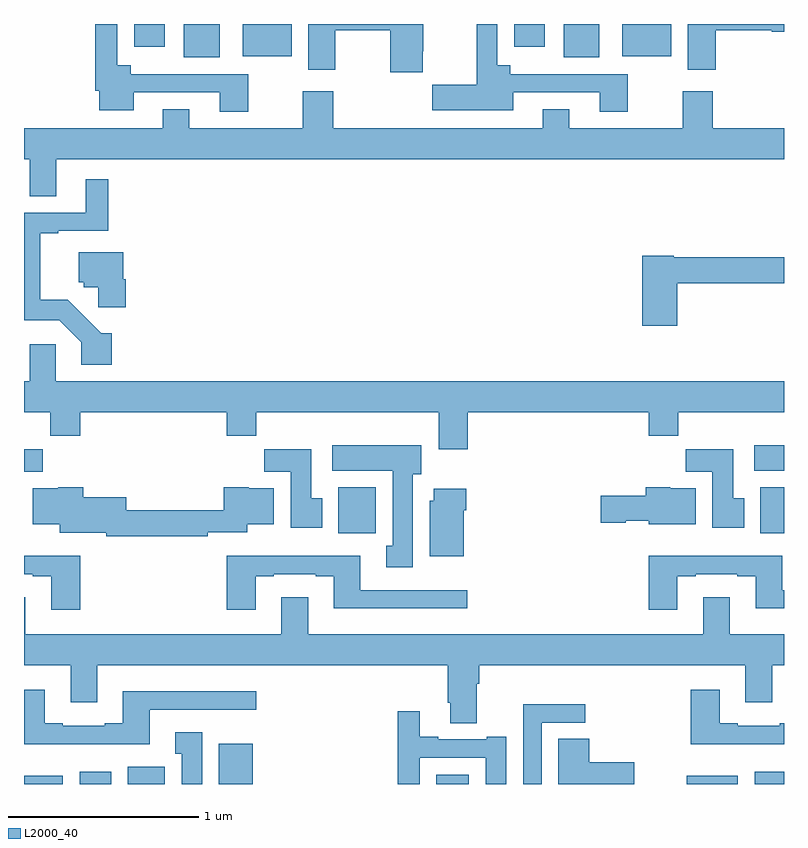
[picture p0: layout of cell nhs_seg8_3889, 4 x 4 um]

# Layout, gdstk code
import gdstk
lib = gdstk.Library(unit=1e-6, precision=1e-09)
def R(c, l, rs):  # rectangles x0, y0, x1, y1
    for r in rs: c.add(gdstk.rectangle(r[:2], r[2:], *l))
def P(c, l, *ps):  # polygons
    for p in ps: c.add(gdstk.Polygon(p, *l))
L2000_40 = (2000, 40)

nhs_seg8_3889 = lib.new_cell('nhs_seg8_3889')
R(nhs_seg8_3889, L2000_40, [(351,1091.9,351.205,1091.944), (351.293,1091.9,351.46,1091.965), (351.545,1091.9,351.742,1091.992), (352.025,1091.9,352.204,1092.112), (353.171,1091.9,353.341,1091.95), (354.488,1091.9,354.757,1091.944), (354.845,1091.9,355,1091.965), (352.655,1093.22,352.852,1093.462), (354.875,1093.22,355,1093.462), (351,1093.544,351.098,1093.663), (354.843,1093.55,355,1093.684), (351.842,1095.725,352.03,1095.9), (353.84,1095.725,354.028,1095.9), (352.151,1095.731,352.408,1095.9), (354.149,1095.731,354.406,1095.9), (351.581,1095.78,351.742,1095.9), (353.579,1095.78,353.74,1095.9)])
P(nhs_seg8_3889, L2000_40, [(352.179,1095.636),(351.562,1095.636),(351.562,1095.682),(351.492,1095.682),(351.492,1095.9),(351.376,1095.9),(351.376,1095.55),(351.395,1095.55),(351.395,1095.446),(351.577,1095.446),(351.577,1095.54),(352.031,1095.54),(352.031,1095.438),(352.179,1095.438)],
  [(353.099,1095.757),(353.1,1095.757),(353.1,1095.9),(352.496,1095.9),(352.496,1095.66),(352.638,1095.66),(352.638,1095.868),(352.927,1095.868),(352.927,1095.645),(353.099,1095.645)],
  [(354.177,1095.636),(353.56,1095.636),(353.56,1095.682),(353.49,1095.682),(353.49,1095.9),(353.382,1095.9),(353.382,1095.58),(353.148,1095.58),(353.148,1095.446),(353.575,1095.446),(353.575,1095.54),(354.029,1095.54),(354.029,1095.438),(354.177,1095.438)],
  [(354.641,1095.868),(354.936,1095.868),(354.936,1095.86),(355,1095.86),(355,1095.9),(354.494,1095.9),(354.494,1095.66),(354.641,1095.66)],
  [(351.169,1095.188),(355,1095.188),(355,1095.352),(354.626,1095.352),(354.626,1095.547),(354.466,1095.547),(354.466,1095.352),(353.869,1095.352),(353.869,1095.451),(353.729,1095.451),(353.729,1095.352),(352.628,1095.352),(352.628,1095.547),(352.468,1095.547),(352.468,1095.352),(351.871,1095.352),(351.871,1095.451),(351.731,1095.451),(351.731,1095.352),(351,1095.352),(351,1095.188),(351.029,1095.188),(351.029,1094.994),(351.169,1094.994)],
  [(351.461,1094.272),(351.407,1094.272),(351.229,1094.45),(351.085,1094.45),(351.085,1094.799),(351.181,1094.799),(351.181,1094.811),(351.443,1094.811),(351.443,1095.082),(351.326,1095.082),(351.326,1094.907),(351,1094.907),(351,1094.34),(351.186,1094.34),(351.3,1094.226),(351.3,1094.106),(351.461,1094.106)],
  [(351.536,1094.556),(351.523,1094.556),(351.523,1094.698),(351.287,1094.698),(351.287,1094.541),(351.315,1094.541),(351.315,1094.514),(351.391,1094.514),(351.391,1094.409),(351.536,1094.409)],
  [(354.437,1094.536),(355,1094.536),(355,1094.672),(354.42,1094.672),(354.42,1094.68),(354.254,1094.68),(354.254,1094.313),(354.437,1094.313)],
  [(353.336,1093.856),(354.287,1093.856),(354.287,1093.732),(354.443,1093.732),(354.443,1093.856),(355,1093.856),(355,1094.02),(351.168,1094.02),(351.168,1094.215),(351.029,1094.215),(351.029,1094.02),(351,1094.02),(351,1093.856),(351.139,1093.856),(351.139,1093.732),(351.296,1093.732),(351.296,1093.856),(352.067,1093.856),(352.067,1093.732),(352.223,1093.732),(352.223,1093.856),(353.183,1093.856),(353.183,1093.662),(353.336,1093.662)],
  [(353.047,1093.53),(353.092,1093.53),(353.092,1093.684),(352.623,1093.684),(352.623,1093.55),(352.94,1093.55),(352.94,1093.154),(352.907,1093.154),(352.907,1093.041),(353.047,1093.041)],
  [(352.57,1093.404),(352.513,1093.404),(352.513,1093.663),(352.264,1093.663),(352.264,1093.544),(352.403,1093.544),(352.403,1093.248),(352.57,1093.248)],
  [(354.79,1093.404),(354.733,1093.404),(354.733,1093.663),(354.484,1093.663),(354.484,1093.544),(354.623,1093.544),(354.623,1093.248),(354.79,1093.248)],
  [(354.535,1093.456),(354.402,1093.456),(354.402,1093.462),(354.272,1093.462),(354.272,1093.416),(354.036,1093.416),(354.036,1093.274),(354.168,1093.274),(354.168,1093.286),(354.288,1093.286),(354.288,1093.268),(354.535,1093.268)],
  [(351.968,1093.224),(352.174,1093.224),(352.174,1093.268),(352.315,1093.268),(352.315,1093.456),(352.182,1093.456),(352.182,1093.462),(352.052,1093.462),(352.052,1093.34),(351.538,1093.34),(351.538,1093.408),(351.311,1093.408),(351.311,1093.462),(351.18,1093.462),(351.18,1093.456),(351.047,1093.456),(351.047,1093.268),(351.188,1093.268),(351.188,1093.223),(351.434,1093.223),(351.434,1093.204),(351.968,1093.204)],
  [(353.314,1093.34),(353.327,1093.34),(353.327,1093.453),(353.156,1093.453),(353.156,1093.392),(353.135,1093.392),(353.135,1093.1),(353.314,1093.1)],
  [(352.219,1092.993),(352.315,1092.993),(352.315,1093.005),(352.535,1093.005),(352.535,1092.993),(352.631,1092.993),(352.631,1092.824),(353.332,1092.824),(353.332,1092.921),(352.771,1092.921),(352.771,1093.102),(352.067,1093.102),(352.067,1092.816),(352.219,1092.816)],
  [(351.296,1093.102),(351,1093.102),(351,1093.005),(351.047,1093.005),(351.047,1092.993),(351.143,1092.993),(351.143,1092.816),(351.296,1092.816)],
  [(354.439,1092.993),(354.535,1092.993),(354.535,1093.005),(354.755,1093.005),(354.755,1092.993),(354.851,1092.993),(354.851,1092.824),(355,1092.824),(355,1092.921),(354.991,1092.921),(354.991,1093.102),(354.287,1093.102),(354.287,1092.816),(354.439,1092.816)],
  [(353.383,1092.428),(353.396,1092.428),(353.396,1092.524),(354.797,1092.524),(354.797,1092.33),(354.937,1092.33),(354.937,1092.524),(355,1092.524),(355,1092.688),(354.715,1092.688),(354.715,1092.883),(354.575,1092.883),(354.575,1092.688),(352.495,1092.688),(352.495,1092.883),(352.355,1092.883),(352.355,1092.688),(351.007,1092.688),(351.007,1092.883),(351,1092.883),(351,1092.524),(351.245,1092.524),(351.245,1092.33),(351.385,1092.33),(351.385,1092.524),(353.231,1092.524),(353.231,1092.328),(353.243,1092.328),(353.243,1092.22),(353.383,1092.22)],
  [(351.661,1092.291),(352.222,1092.291),(352.222,1092.388),(351.521,1092.388),(351.521,1092.22),(351.425,1092.22),(351.425,1092.207),(351.205,1092.207),(351.205,1092.22),(351.109,1092.22),(351.109,1092.397),(351,1092.397),(351,1092.11),(351.661,1092.11)],
  [(355,1092.22),(354.977,1092.22),(354.977,1092.207),(354.757,1092.207),(354.757,1092.22),(354.661,1092.22),(354.661,1092.397),(354.509,1092.397),(354.509,1092.11),(355,1092.11)],
  [(353.724,1092.222),(353.953,1092.222),(353.953,1092.32),(353.628,1092.32),(353.628,1091.9),(353.724,1091.9)],
  [(353.082,1092.039),(353.429,1092.039),(353.429,1091.9),(353.539,1091.9),(353.539,1092.148),(353.435,1092.148),(353.435,1092.135),(353.179,1092.135),(353.179,1092.148),(353.083,1092.148),(353.083,1092.283),(352.966,1092.283),(352.966,1091.9),(353.082,1091.9)],
  [(351.937,1092.172),(351.797,1092.172),(351.797,1092.059),(351.83,1092.059),(351.83,1091.9),(351.937,1091.9)],
  [(354.211,1092.014),(353.975,1092.014),(353.975,1092.137),(353.813,1092.137),(353.813,1091.9),(354.211,1091.9)])

lib.write_gds('nhs_seg8_3889.gds')
